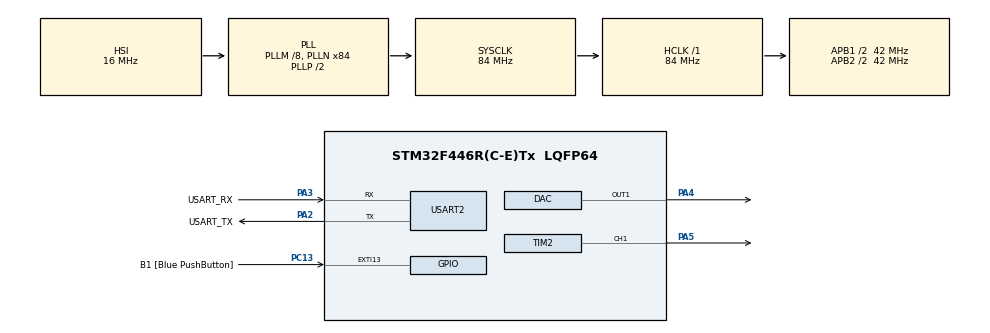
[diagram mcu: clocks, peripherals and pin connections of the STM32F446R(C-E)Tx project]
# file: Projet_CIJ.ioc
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DAC.DAC_OutputBuffer=DAC_OUTPUTBUFFER_DISABLE
DAC.DAC_Trigger=DAC_TRIGGER_T6_TRGO
Dma.DAC1.0.Direction=DMA_MEMORY_TO_PERIPH
Dma.DAC1.0.FIFOMode=DMA_FIFOMODE_ENABLE
Dma.DAC1.0.FIFOThreshold=DMA_FIFO_THRESHOLD_HALFFULL
Dma.DAC1.0.Instance=DMA1_Stream5
Dma.DAC1.0.MemBurst=DMA_MBURST_SINGLE
Dma.DAC1.0.MemDataAlignment=DMA_MDATAALIGN_HALFWORD
Dma.DAC1.0.MemInc=DMA_MINC_ENABLE
Dma.DAC1.0.Mode=DMA_CIRCULAR
Dma.DAC1.0.PeriphBurst=DMA_PBURST_SINGLE
Dma.DAC1.0.PeriphDataAlignment=DMA_PDATAALIGN_HALFWORD
Dma.DAC1.0.PeriphInc=DMA_PINC_DISABLE
Dma.DAC1.0.Priority=DMA_PRIORITY_HIGH
Dma.Request0=DAC1
Mcu.Family=STM32F4
Mcu.Name=STM32F446R(C-E)Tx
Mcu.Package=LQFP64
NVIC.DMA1_Stream5_IRQn=true\:1\:0\:true\:false\:true\:false\:true\:true
NVIC.PriorityGroup=NVIC_PRIORITYGROUP_4
NVIC.TIM6_DAC_IRQn=true\:2\:0\:true\:false\:true\:true\:true\:true
NVIC.USART2_IRQn=true\:0\:0\:true\:false\:true\:true\:true\:true
PA13.Mode=Serial_Wire
PA13.Signal=SYS_JTMS-SWDIO
PA14.Mode=Serial_Wire
PA14.Signal=SYS_JTCK-SWCLK
PA2.GPIO_Label=USART_TX
PA2.Mode=Asynchronous
PA2.Signal=USART2_TX
PA3.GPIO_Label=USART_RX
PA3.Mode=Asynchronous
PA3.Signal=USART2_RX
PA4.Signal=COMP_DAC1_group
PA5.Signal=S_TIM2_CH1_ETR
PB3.Signal=SYS_JTDO-SWO
PC13.GPIO_Label=B1 [Blue PushButton]
PC13.GPIO_ModeDefaultEXTI=GPIO_MODE_IT_FALLING
PC13.Signal=GPXTI13
PC14-OSC32_IN.Mode=LSE-External-Oscillator
PC14-OSC32_IN.Signal=RCC_OSC32_IN
PC15-OSC32_OUT.Mode=LSE-External-Oscillator
PC15-OSC32_OUT.Signal=RCC_OSC32_OUT
PH0-OSC_IN.Mode=HSE-External-Oscillator
PH0-OSC_IN.Signal=RCC_OSC_IN
PH1-OSC_OUT.Mode=HSE-External-Oscillator
PH1-OSC_OUT.Signal=RCC_OSC_OUT
ProjectManager.HeapSize=0x200
ProjectManager.StackSize=0x400
ProjectManager.TargetToolchain=STM32CubeIDE
RCC.48MHZClocksFreq_Value=84000000
RCC.AHBFreq_Value=84000000
RCC.APB1CLKDivider=RCC_HCLK_DIV2
RCC.APB1Freq_Value=42000000
RCC.APB1TimFreq_Value=84000000
RCC.APB2CLKDivider=RCC_HCLK_DIV2
RCC.APB2Freq_Value=42000000
RCC.APB2TimFreq_Value=84000000
RCC.CortexFreq_Value=84000000
RCC.FLatency-AdvancedSettings=FLASH_LATENCY_2
RCC.HCLKFreq_Value=84000000
RCC.HSE_VALUE=8000000
RCC.HSI_VALUE=16000000
RCC.PLLM=8
RCC.PLLN=84
RCC.SYSCLKFreq_VALUE=84000000
RCC.SYSCLKSource=RCC_SYSCLKSOURCE_PLLCLK
RCC.USBFreq_Value=84000000
RCC.VCOOutputFreq_Value=168000000
SH.COMP_DAC1_group.0=DAC_OUT1,DAC_OUT1
SH.S_TIM2_CH1_ETR.0=TIM2_CH1,PWM Generation1 CH1
TIM2.Channel-PWM\ Generation1\ CH1=TIM_CHANNEL_1
TIM2.OCFastMode_PWM-PWM\ Generation1\ CH1=TIM_OCFAST_ENABLE
TIM2.Period=100-1
TIM2.Prescaler=84-1
TIM2.Pulse-PWM\ Generation1\ CH1=20
TIM6.AutoReloadPreload=TIM_AUTORELOAD_PRELOAD_DISABLE
TIM6.Period=65535
TIM6.TIM_MasterOutputTrigger=TIM_TRGO_UPDATE
USART2.VirtualMode=VM_ASYNC
VP_TIM6_VS_ClockSourceINT.Mode=Enable_Timer
board=NUCLEO-F446RE

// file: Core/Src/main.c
/* USER CODE BEGIN Header */
/**
  ******************************************************************************
  * @file           : main.c
  * @brief          : Main program body
  ******************************************************************************
  * @attention
  *
  * Copyright (c) 2025 STMicroelectronics.
  * All rights reserved.
  *
  * This software is licensed under terms that can be found in the LICENSE file
  * in the root directory of this software component.
  * If no LICENSE file comes with this software, it is provided AS-IS.
  *
  ******************************************************************************
  */
/* USER CODE END Header */
#include "main.h"
#include "dac.h"
#include "dma.h"
#include "tim.h"
#include "usart.h"
#include "gpio.h"

/* USER CODE BEGIN Includes */
#include <math.h>
#include <string.h>
#include <stdlib.h>
#include<stdio.h>
/* USER CODE END Includes */

/* USER CODE BEGIN PD */
#define FRAME_SIZE 10       // AA F(octet faible) F(octet medium) F(octet fort) A1 H1 A2 H2 P(octet faible) P((octet fort) CRC
#define RESP_FRAME_SIZE 8  // BB ARR_H ARR_L FREQ_H FREQ_M FREQ_L CRC1 CRC2
#define MAX_TABLE_SIZE 256
#define FRAME_TIMEOUT_MS 10
/* USER CODE END PD */

/* USER CODE BEGIN PV */
volatile uint16_t NUMBER_OF_SAMPLE =32;
uint8_t rx_byte;
uint8_t trigger_period = 10; //modifier le period de trigger
uint8_t frame_buf[FRAME_SIZE];
uint8_t resp_buf[RESP_FRAME_SIZE]; // 响应帧缓冲区
uint8_t frame_index = 0;
uint8_t receiving = 0;
uint32_t frame_timeout =0;
uint16_t sine_table[MAX_TABLE_SIZE];
uint16_t sineamp_table[MAX_TABLE_SIZE];
uint16_t sinphase_table[MAX_TABLE_SIZE];
float amplitude_scale = 1.0f;
uint16_t phase_offset = 0;
uint16_t xx = 2048;
/* USER CODE END PV */

void SystemClock_Config(void);
/* USER CODE BEGIN PFP */
void SendResponseFrame(uint32_t arr, uint32_t real_freq); // 新增响应帧发送函�?
/* USER CODE END PFP */

/* USER CODE BEGIN 0 */

// Calculer la somme de contrôle (CRC) de la trame de réponse
uint16_t CalcRespCRC(uint8_t *buf, uint8_t len)
{
    uint16_t sum = 0;
    for(uint8_t i=0; i<len-2; i++) // Les 6 premiers octets participent au calcul
    {
        sum += buf[i];
    }
    return sum;
}

// Envoyer la trame de réponse (contient l'ARR et la fréquence réelle)
void SendResponseFrame(uint32_t arr, uint32_t real_freq)
{
    // Effacer le tampon de réponse
    memset(resp_buf, 0, sizeof(resp_buf));

    // En-tête de trame : 0xBB identifie une réponse
    resp_buf[0] = 0xBB;

    // Valeur ARR (16 bits) : Octet fort + Octet faible
    resp_buf[1] = (arr >> 8) & 0xFF;
    resp_buf[2] = arr & 0xFF;

    // Fréquence réelle (32 bits, récupération des 24 bits de poids faible) :
    // Octet fort + Octet moyen + Octet faible
    resp_buf[3] = (real_freq >> 16) & 0xFF;
    resp_buf[4] = (real_freq >> 8) & 0xFF;
    resp_buf[5] = real_freq & 0xFF;

    // Calculer la somme de contrôle (CRC sur 16 bits divisé en deux octets de 8 bits)
    uint16_t crc = CalcRespCRC(resp_buf, RESP_FRAME_SIZE);
    resp_buf[6] = (crc >> 8) & 0xFF;
    resp_buf[7] = crc & 0xFF;

    // Transmettre la trame de réponse via le port série (UART)
    HAL_UART_Transmit(&huart2, resp_buf, RESP_FRAME_SIZE, 100);
}

// Initialisation : écrire les valeurs de la fonction sinus de base
void GenerateSineTable(uint8_t amp1,uint8_t amp2,uint8_t harm2)
{
    for (int i = 0; i < NUMBER_OF_SAMPLE; i++)
    {
        //float angle = 2.0f * 3.1415926f * i / NUMBER_OF_SAMPLE;
        //sine_table[i] = (uint16_t)(xx + (xx-1) * sinf(angle));
        float angle_1 = 2.0f * 3.1415926f * i / NUMBER_OF_SAMPLE;
        float angle_2 = 2.0f * 3.1415926f * i * harm2 / NUMBER_OF_SAMPLE;
        sine_table[i] = (uint16_t)(xx -1 + xx * (float)amp1 / 255.0 * sinf(angle_1) + xx * (float)amp2 / 255.0 * sinf(angle_2)); // Avec A1 + A2 <= 255
    }
}

// Ajuster le tableau sinus en fonction de l'amplitude d'entrée
/*void UpdateScaledTable(void)
{
	//   Vider le tableau de mise à l'échelle de l'amplitude du sinus,
	//   initialiser tous les éléments à 0
	memset(sineamp_table, 0, sizeof(sineamp_table));

	//   Parcourir le tableau sinus original et calculer la mise
	//   à l'échelle de l'amplitude pour chaque élément
    for (int i = 0; i < NUMBER_OF_SAMPLE; i++)
    {
        float centered = sine_table[i] - xx;
        centered *= amplitude_scale;
        sineamp_table[i] = (uint16_t)(xx + centered);
    }
}
*/

// Ajuster le tableau sinus en fonction de le phase d'entrée
void Updatephase()
{
	memset(sinphase_table, 0, sizeof(sinphase_table));
	//    Parcourir le tableau de mise à l'échelle d'amplitude et
	//    remplir le tableau de phase via le décalage de phase
	for(int i = 0;i < NUMBER_OF_SAMPLE;i++)
	{
		int index = (i + phase_offset)% NUMBER_OF_SAMPLE;
		sinphase_table[index] = sine_table[i];
	}
}

/*void SetAmplitude(uint8_t amp)
{
    amplitude_scale = (float)amp / 255.0f;;
    UpdateScaledTable();
}
*/
void Setphase(uint16_t phase)
{
	uint16_t phase_midi = phase*NUMBER_OF_SAMPLE/360;
	phase_offset = phase_midi;
	Updatephase();
}

void SetFrequency(uint32_t freq,uint8_t amp1,uint8_t amp2,uint8_t harm2,uint16_t phase)
{
    if (freq == 0) return;
    uint32_t timer_clk = 84000000;   // APB1 Timer Clock = 84MHz
    HAL_TIM_Base_Stop(&htim6);
    HAL_DAC_Stop_DMA(&hdac, DAC_CHANNEL_1);

    // Modifier la taille du tableau pour faciliter la sortie
    if (freq > 80000)      NUMBER_OF_SAMPLE = 16;    // 80k~100kHz 16
        else if (freq > 32000) NUMBER_OF_SAMPLE = 32;    // 32k~80kHz 32
        else if (freq > 16000) NUMBER_OF_SAMPLE = 64;    // 16k~32kHz 64
        else                        NUMBER_OF_SAMPLE = 256;   // <16kHz 256
    GenerateSineTable(amp1,amp2,harm2);
    //SetAmplitude(amp);
    Setphase(phase);

    // Calculer la PWM sur TIM2 et la sortie DMA sur TIM6 en modifiant ARR et PSC
    uint32_t psc =0;
    float total_ticks = (float)timer_clk / (float)freq;
    uint32_t arr_base = (uint32_t)roundf(total_ticks);
    total_ticks = (float)arr_base / (float)NUMBER_OF_SAMPLE;
    uint32_t arr_dac = (uint32_t)roundf(total_ticks);
    uint32_t final_arr_pwm = (arr_dac*NUMBER_OF_SAMPLE) -1;
    uint32_t final_arr_dac = arr_dac -1;
    uint32_t comp = final_arr_pwm/trigger_period;

    // Calcul de la fréquence réelle réalisable
    uint32_t real_freq = timer_clk / (NUMBER_OF_SAMPLE * (final_arr_dac + 1));

    //eable le tim
    htim2.Instance->PSC = psc;
    htim2.Instance->ARR = final_arr_pwm;
    htim6.Instance->PSC = psc;
    htim6.Instance->ARR = final_arr_dac;
    __HAL_TIM_SET_COMPARE(&htim2, TIM_CHANNEL_1, comp);
    __HAL_TIM_SET_COUNTER(&htim2, 0);
    __HAL_TIM_SET_COUNTER(&htim6, 0);
    HAL_DAC_Start_DMA(&hdac, DAC_CHANNEL_1, (uint32_t*)sinphase_table, NUMBER_OF_SAMPLE, DAC_ALIGN_12B_R);
    HAL_TIM_Base_Start(&htim6);
    HAL_TIM_PWM_Start(&htim2,TIM_CHANNEL_1);

    // Émission de la trame de réponse : incluant la valeur ARR du DAC et la fréquence réelle.
    SendResponseFrame(final_arr_dac, real_freq);
}

uint8_t CalcCRC(uint8_t *buf)
{
    uint8_t sum = 0;
    for(uint8_t i=1;i<9;i++){
    sum += buf[i];
    }
    return sum & 0xFF;
}

void ProcessFrame(uint8_t *buf)
{
    if (buf[0] != 0xAA)
        return;

    uint32_t freq  = buf[1]+(buf[2] << 8)+(buf[3]<<16);
    uint8_t amp1   = buf[4];
    uint8_t amp2   = buf[5];
    uint8_t harm2   = buf[6];
    uint16_t phase = buf[7] + (buf[8] << 8);
    uint8_t crc   = buf[9];

    uint8_t calc = CalcCRC(buf);
    if (calc != crc){
        return;}

    SetFrequency(freq,amp1,amp2,harm2,phase);
}

/* USER CODE END 0 */

int main(void)
{

  /* MCU Configuration--------------------------------------------------------*/

  /* Reset of all peripherals, Initializes the Flash interface and the Systick. */
  HAL_Init();

  /* Configure the system clock */
  SystemClock_Config();

  /* Initialize all configured peripherals */
  MX_GPIO_Init();
  MX_DMA_Init();
  MX_USART2_UART_Init();
  MX_DAC_Init();
  MX_TIM6_Init();
  MX_TIM2_Init();
  /* USER CODE BEGIN 2 */
  HAL_UART_Receive_IT(&huart2, &rx_byte, 1);
  GenerateSineTable(1,1,1);
  HAL_TIM_Base_Start(&htim6);
  HAL_TIM_Base_Start(&htim2);
  HAL_TIM_PWM_Start(&htim2,TIM_CHANNEL_1);
  HAL_DAC_Stop(&hdac, DAC_CHANNEL_1);
  HAL_DAC_Start_DMA(&hdac, DAC_CHANNEL_1, (uint32_t*)sinphase_table, NUMBER_OF_SAMPLE, DAC_ALIGN_12B_R);

  /* USER CODE END 2 */

  /* Infinite loop */
  while (1)
  {

  }
}

void SystemClock_Config(void)
{
  RCC_OscInitTypeDef RCC_OscInitStruct = {0};
  RCC_ClkInitTypeDef RCC_ClkInitStruct = {0};

  /** Configure the main internal regulator output voltage
  */
  __HAL_RCC_PWR_CLK_ENABLE();
  __HAL_PWR_VOLTAGESCALING_CONFIG(PWR_REGULATOR_VOLTAGE_SCALE3);

  /** Initializes the RCC Oscillators according to the specified parameters
  * in the RCC_OscInitTypeDef structure.
  */
  RCC_OscInitStruct.OscillatorType = RCC_OSCILLATORTYPE_HSI;
  RCC_OscInitStruct.HSIState = RCC_HSI_ON;
  RCC_OscInitStruct.HSICalibrationValue = RCC_HSICALIBRATION_DEFAULT;
  RCC_OscInitStruct.PLL.PLLState = RCC_PLL_ON;
  RCC_OscInitStruct.PLL.PLLSource = RCC_PLLSOURCE_HSI;
  RCC_OscInitStruct.PLL.PLLM = 8;
  RCC_OscInitStruct.PLL.PLLN = 84;
  RCC_OscInitStruct.PLL.PLLP = RCC_PLLP_DIV2;
  RCC_OscInitStruct.PLL.PLLQ = 2;
  RCC_OscInitStruct.PLL.PLLR = 2;
  if (HAL_RCC_OscConfig(&RCC_OscInitStruct) != HAL_OK)
  {
    Error_Handler();
  }

  /** Initializes the CPU, AHB and APB buses clocks
  */
  RCC_ClkInitStruct.ClockType = RCC_CLOCKTYPE_HCLK|RCC_CLOCKTYPE_SYSCLK
                              |RCC_CLOCKTYPE_PCLK1|RCC_CLOCKTYPE_PCLK2;
  RCC_ClkInitStruct.SYSCLKSource = RCC_SYSCLKSOURCE_PLLCLK;
  RCC_ClkInitStruct.AHBCLKDivider = RCC_SYSCLK_DIV1;
  RCC_ClkInitStruct.APB1CLKDivider = RCC_HCLK_DIV2;
  RCC_ClkInitStruct.APB2CLKDivider = RCC_HCLK_DIV2;

  if (HAL_RCC_ClockConfig(&RCC_ClkInitStruct, FLASH_LATENCY_2) != HAL_OK)
  {
    Error_Handler();
  }
}

/* USER CODE BEGIN 4 */
void HAL_UART_RxCpltCallback(UART_HandleTypeDef *huart)
{
    if (huart->Instance == USART2)
    {
        uint8_t b = rx_byte;

        if (!receiving)
        {
            if (b == 0xAA)
            {
                receiving = 1;
                frame_index = 0;
                frame_buf[frame_index++] = b;
            }
        }
        else
        {
            frame_buf[frame_index++] = b;
            if (frame_index >= FRAME_SIZE)
            {
                receiving = 0;
                ProcessFrame(frame_buf);
            }
        }

        HAL_UART_Receive_IT(&huart2, &rx_byte, 1);
    }
}

/* USER CODE END 4 */

void Error_Handler(void)
{
  __disable_irq();
  while (1)
  {
  }
}
